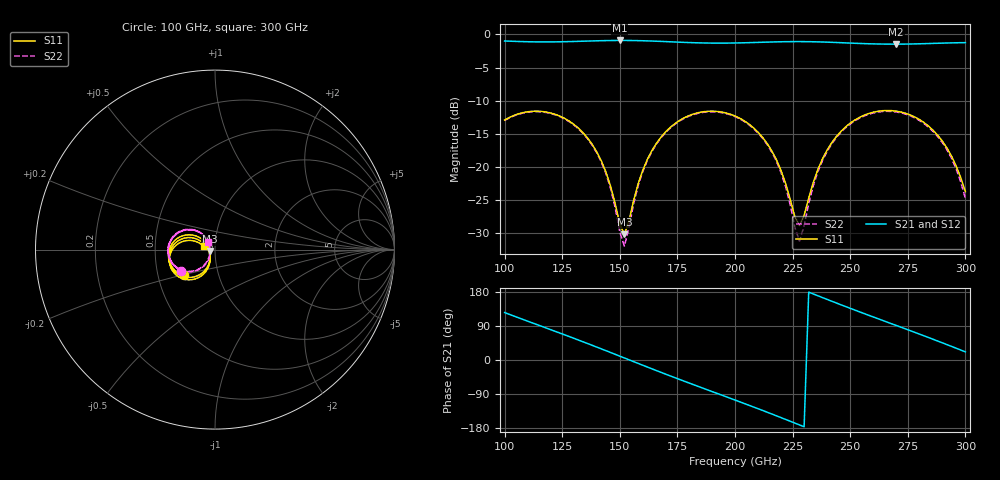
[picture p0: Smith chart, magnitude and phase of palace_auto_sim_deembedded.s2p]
! Created with skrf 1.11.0 (http://scikit-rf.org).
# GHz S DB R 50.0
!freq dBS11 angS11 dBS21 angS21 dBS12 angS12 dBS22 angS22
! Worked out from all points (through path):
!   101 points, 100 GHz to 300 GHz, reference 50 ohm
!   highest |S21| = -0.90 dB at 150 GHz (marker M1); lowest = -1.5 dB at 270 GHz (marker M2)
!   group delay of S21, straight-line fit = 6.45 ps
!   lowest |S11| = -30.3 dB at 152 GHz (marker M3), VSWR 1.06, Z = 47.1 - j0.858 ohm
!   |S11| at or under -10 dB: start of sweep to end of sweep
!   |S22| runs from -32.0 to -11.6 dB; largest |S21 - S12| = 1e-13
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100  -12.95 -140.5  -0.98 125.1  -0.98 125.1  -13.01 -148.1
118  -11.73 -176.3  -1.12 84.5  -1.12 84.5  -11.80 174.1
134  -14.85 153.3  -1.02 48.1  -1.02 48.1  -14.95 141.6
144  -20.84 141.3  -0.92 24.6  -0.92 24.6  -21.07 127.1
150  -28.68 164.5  -0.90 10.2  -0.90 10.2  -29.89 147.8
152  -30.26 -162.8  -0.90 5.4  -0.90 5.4  -32.03 -173.3
160  -20.50 -113.2  -0.95 -13.9  -0.95 -13.9  -20.70 -122.4
168  -15.48 -122.3  -1.05 -32.9  -1.05 -32.9  -15.58 -133.7
184  -11.83 -152.0  -1.26 -69.7  -1.26 -69.7  -11.92 -165.8
200  -12.33 177.4  -1.28 -105.6  -1.28 -105.6  -12.42 161.3
216  -17.63 151.2  -1.13 -142.6  -1.13 -142.6  -17.82 131.7
222  -22.58 151.1  -1.09 -156.9  -1.09 -156.9  -23.06 128.5
228  -28.91 -159.3  -1.08 -171.3  -1.08 -171.3  -31.26 -176.4
234  -22.36 -112.3  -1.10 174.2  -1.10 174.2  -22.86 -124.5
240  -17.48 -112.8  -1.16 159.9  -1.16 159.9  -17.69 -128.1
248  -13.99 -124.6  -1.27 141.1  -1.27 141.1  -14.12 -141.9
258  -11.96 -142.8  -1.40 118.1  -1.40 118.1  -12.08 -161.9
268  -11.52 -161.5  -1.46 95.6  -1.46 95.6  -11.64 177.7
270  -11.60 -165.3  -1.46 91.1  -1.46 91.1  -11.72 173.7
288  -15.25 163.5  -1.33 50.0  -1.33 50.0  -15.45 138.6
294  -18.42 157.2  -1.27 35.8  -1.27 35.8  -18.76 130.0
300  -23.78 164.2  -1.23 21.5  -1.23 21.5  -24.82 132.9
